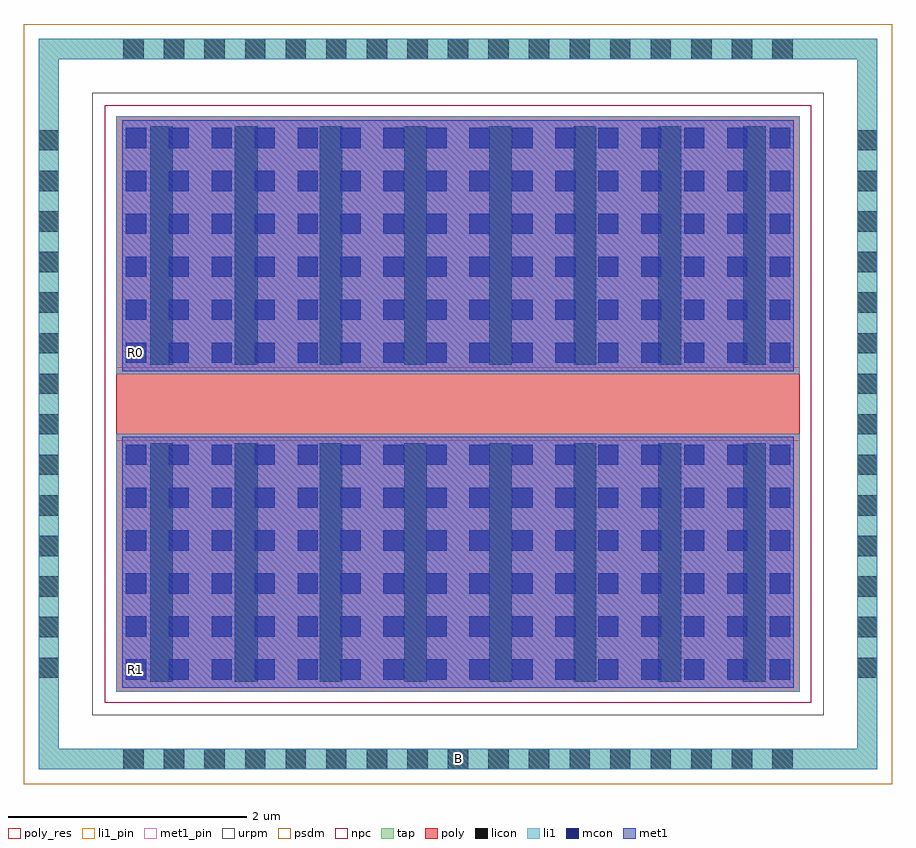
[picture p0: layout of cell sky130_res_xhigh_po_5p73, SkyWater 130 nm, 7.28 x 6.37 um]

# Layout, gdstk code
import gdstk
lib = gdstk.Library(unit=1e-6, precision=1e-09)
def R(c, l, rs):  # rectangles x0, y0, x1, y1
    for r in rs: c.add(gdstk.rectangle(r[:2], r[2:], *l))
def A(c, l, x, y, w, h, nx, ny, dx, dy):  # array of equal rectangles
    R(c, l, [(x+i*dx, y+j*dy, x+i*dx+w, y+j*dy+h) for i in range(nx) for j in range(ny)])
tap = (65, 44)
poly_res = (66, 13)
poly = (66, 20)
licon = (66, 44)
li1_pin = (67, 16)
li1 = (67, 20)
mcon = (67, 44)
met1_pin = (68, 16)
met1 = (68, 20)
urpm = (79, 20)
psdm = (94, 20)
npc = (95, 20)

res_poly = lib.new_cell('res_poly')
R(res_poly, tap, [(-3.515,-3.06,3.515,-2.89), (-3.515,-2.89,-3.345,2.89), (3.345,-2.89,3.515,2.89), (-3.515,2.89,3.515,3.06)])
R(res_poly, poly_res, [(-2.865,-0.31,2.865,0.31)])
R(res_poly, poly, [(-2.865,-2.41,2.865,2.41)])
A(res_poly, licon, -2.805, -3.06, 0.17, 0.17, 17, 2, 0.34, 5.95)
A(res_poly, licon, -2.58, -2.33, 0.19, 2, 8, 2, 0.71, 2.66)
A(res_poly, licon, -3.515, -2.295, 0.17, 0.17, 1, 14, 0, 0.34)
A(res_poly, licon, 3.345, -2.295, 0.17, 0.17, 1, 14, 0, 0.34)
R(res_poly, li1, [(-3.515,-3.06,3.515,-2.89), (-3.515,-2.89,-3.345,2.89), (3.345,-2.89,3.515,2.89), (-2.865,-2.41,2.865,-0.25), (-2.865,0.25,2.865,2.41), (-3.515,2.89,3.515,3.06)])
A(res_poly, mcon, -2.785, -2.31, 0.17, 0.17, 16, 6, 0.36, 0.36)
A(res_poly, mcon, -2.785, 0.345, 0.17, 0.17, 16, 6, 0.36, 0.36)
R(res_poly, met1, [(-2.815,-2.38,2.815,-0.275), (-2.815,0.275,2.815,2.38)])
R(res_poly, urpm, [(-3.065,-2.61,3.065,2.61)])
R(res_poly, psdm, [(-3.64,-3.185,3.64,3.185)])
R(res_poly, npc, [(-2.96,-2.505,2.96,2.505)])

sky130_res_xhigh_po_5p73 = lib.new_cell('sky130_res_xhigh_po_5p73')
R(sky130_res_xhigh_po_5p73, li1_pin, [(-0.085,-3.06,0.085,-2.89)])
R(sky130_res_xhigh_po_5p73, met1_pin, [(-2.785,-2.31,-2.615,-2.14), (-2.785,0.345,-2.615,0.515)])
sky130_res_xhigh_po_5p73.add(gdstk.Reference(res_poly, (0,0)))
sky130_res_xhigh_po_5p73.add(gdstk.Label('R0', (-2.7,0.43), layer=68, texttype=5))
sky130_res_xhigh_po_5p73.add(gdstk.Label('R1', (-2.7,-2.225), layer=68, texttype=5))
sky130_res_xhigh_po_5p73.add(gdstk.Label('B', (0,-2.975), layer=67, texttype=5))

lib.write_gds('sky130_res_xhigh_po_5p73.gds')
